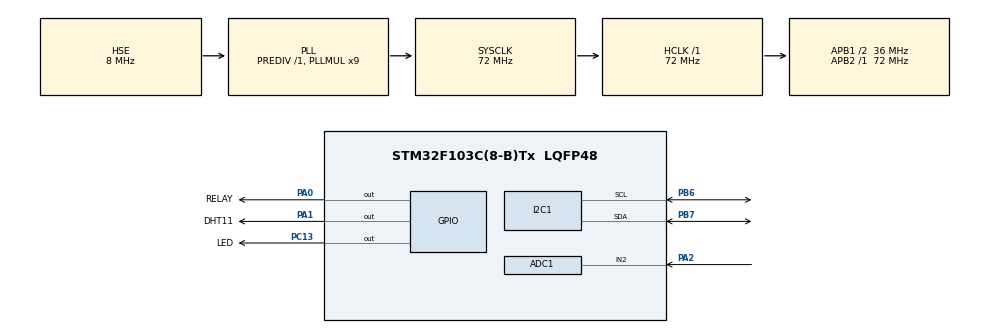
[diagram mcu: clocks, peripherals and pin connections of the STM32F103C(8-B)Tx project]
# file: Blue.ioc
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ADC1.Channel-0\#ChannelRegularConversion=ADC_CHANNEL_2
ADC1.NbrOfConversionFlag=1
ADC1.Rank-0\#ChannelRegularConversion=1
ADC1.SamplingTime-0\#ChannelRegularConversion=ADC_SAMPLETIME_71CYCLES_5
ADC1.master=1
Mcu.Family=STM32F1
Mcu.Name=STM32F103C(8-B)Tx
Mcu.Package=LQFP48
NVIC.PriorityGroup=NVIC_PRIORITYGROUP_4
PA0-WKUP.GPIO_Label=RELAY
PA0-WKUP.Signal=GPIO_Output
PA1.GPIO_Label=DHT11
PA1.Signal=GPIO_Output
PA13.Mode=Serial_Wire
PA13.Signal=SYS_JTMS-SWDIO
PA14.Mode=Serial_Wire
PA14.Signal=SYS_JTCK-SWCLK
PA2.Signal=ADCx_IN2
PB6.Mode=I2C
PB6.Signal=I2C1_SCL
PB7.Mode=I2C
PB7.Signal=I2C1_SDA
PC13-TAMPER-RTC.GPIO_Label=LED
PC13-TAMPER-RTC.Signal=GPIO_Output
PD0-OSC_IN.Mode=HSE-External-Oscillator
PD0-OSC_IN.Signal=RCC_OSC_IN
PD1-OSC_OUT.Mode=HSE-External-Oscillator
PD1-OSC_OUT.Signal=RCC_OSC_OUT
ProjectManager.HeapSize=0x200
ProjectManager.StackSize=0x400
ProjectManager.TargetToolchain=STM32CubeIDE
RCC.ADCPresc=RCC_ADCPCLK2_DIV6
RCC.AHBFreq_Value=72000000
RCC.APB1CLKDivider=RCC_HCLK_DIV2
RCC.APB1Freq_Value=36000000
RCC.APB1TimFreq_Value=72000000
RCC.APB2Freq_Value=72000000
RCC.APB2TimFreq_Value=72000000
RCC.HCLKFreq_Value=72000000
RCC.PLLMUL=RCC_PLL_MUL9
RCC.PLLSourceVirtual=RCC_PLLSOURCE_HSE
RCC.SYSCLKFreq_VALUE=72000000
RCC.SYSCLKSource=RCC_SYSCLKSOURCE_PLLCLK
RCC.USBFreq_Value=72000000
SH.ADCx_IN2.0=ADC1_IN2,IN2
TIM2.Prescaler=71
VP_TIM2_VS_ClockSourceINT.Mode=Internal
board=custom

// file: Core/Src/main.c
/* USER CODE BEGIN Header */
/**
  ******************************************************************************
  * @file           : main.c
  * @brief          : Main program body
  ******************************************************************************
  * @attention
  *
  * Copyright (c) 2026 STMicroelectronics.
  * All rights reserved.
  *
  * This software is licensed under terms that can be found in the LICENSE file
  * in the root directory of this software component.
  * If no LICENSE file comes with this software, it is provided AS-IS.
  *
  ******************************************************************************
  */
/* USER CODE END Header */
#include "main.h"

/* USER CODE BEGIN Includes */
#include <stdio.h>
#include <string.h>
#include <stdint.h>

/* USER CODE END Includes */

/* USER CODE BEGIN PD */

/* ================= CAU HINH MAC DINH (sua duoc ngay tren LCD) ================= */

/* Muc kich relay: GPIO_PIN_SET = relay dong khi PA0 = 1 (jumper High).
 * Neu relay chay nguoc thi doi thanh GPIO_PIN_RESET */
#define RELAY_ON_LEVEL      GPIO_PIN_SET

/* An toan cho che do tu dong: bom lien tuc toi da bao lau, roi nghi bao lau
 * (de nuoc kip tham xuong dat, tranh ngap uong neu cam bien sai) */
#define AUTO_MAX_RUN_MS     60000UL     /* toi da 60 giay moi dot bom  */
#define AUTO_COOL_MS        300000UL    /* nghi 5 phut sau khi bi cat  */

/* Gia tri mac dinh lan dau (sau do luu vao flash) */
#define DEF_AUTO_EN         1
#define DEF_SOIL_START      30          /* dat < 30%  -> bat bom   */
#define DEF_SOIL_STOP       60          /* dat >= 60% -> tat bom   */
#define DEF_SCHED_EN        1
#define DEF_SCHED_H         7           /* hen gio 07:00           */
#define DEF_SCHED_M         0
#define DEF_PUMP_SEC        10          /* bom 10 giay             */
#define DEF_ADC_DRY         4000        /* cam bien dien tro ngoai khong khi ~4095 (se hieu chinh tren LCD) */
#define DEF_ADC_WET         1500        /* nhung nuoc/dat uot: thap hon nhieu (se hieu chinh tren LCD)       */

/* ---- Cam bien dat DIEN TRO (2 chan kim loai + module LM393) ----
 * Day AO -> PA2 (A2). Day VCC -> PB0 (khuyen dung) HOAC 3V3. GND -> GND. Day DO de trong.
 * Cap nguon qua PB0 de chi bat luc do: chan kim loai cam lien tuc se bi an mon (ri set) rat nhanh. */
#define SOIL_PWR_PORT       GPIOB
#define SOIL_PWR_PIN        GPIO_PIN_0
#define SOIL_SETTLE_MS      15          /* cho module on dinh sau khi cap nguon */
#define SOIL_READ_PERIOD_MS 500         /* doc cam bien moi 0.5 giay            */

/* Dia chi I2C */
#define RTC_ADDR            (0x68 << 1)
#define LCD_ADDR_1          (0x27 << 1)
#define LCD_ADDR_2          (0x3F << 1)

/* Bit dieu khien PCF8574 cua LCD */
#define LCD_BL              0x08
#define LCD_EN              0x04
#define LCD_RS              0x01

/* Luu cai dat vao trang flash cuoi (Blue Pill 64KB) */
#define CFG_ADDR            0x0800FC00UL
#define CFG_MAGIC           0xA5C30003UL

/* Chong treo LCD: moi 30 giay khoi dong lai bus I2C + LCD */
#define LCD_REINIT_MS       30000UL

/* Nut nhan (noi 1 chan nut xuong GND, chan con lai vao chan MCU) */
#define BTN_MENU_PIN        GPIO_PIN_12   /* PB12: chuyen trang menu        */
#define BTN_UP_PIN          GPIO_PIN_13   /* PB13: tang / bat               */
#define BTN_DOWN_PIN        GPIO_PIN_14   /* PB14: giam / tat               */
#define BTN_PUMP_PIN        GPIO_PIN_15   /* PB15: bom tay (10 giay)        */
#define BTN_MENU            0
#define BTN_UP              1
#define BTN_DOWN            2
#define BTN_PUMP            3

/* Cac trang menu */
#define P_HOME              0
#define P_AUTO              1
#define P_START             2
#define P_STOP              3
#define P_SCHED_EN          4
#define P_SCHED_H           5
#define P_SCHED_M           6
#define P_PUMP_S            7
#define P_CAL_DRY           8
#define P_CAL_WET           9
#define P_COUNT             10

/* USER CODE END PD */

ADC_HandleTypeDef hadc1;

I2C_HandleTypeDef hi2c1;

TIM_HandleTypeDef htim2;

/* USER CODE BEGIN PV */

typedef struct {
  uint8_t sec, min, hour, day, month, year;
} RtcTime_t;

typedef struct {
  uint32_t magic;
  uint8_t  auto_en, start, stop, sched_en;
  uint8_t  sched_h, sched_m, pump_s, rsv;
  uint16_t dry, wet;
  uint16_t rsv2, rsv3;
} Config_t;

typedef struct {
  GPIO_TypeDef *port;
  uint16_t pin;
  uint8_t  raw, state;
  uint32_t t_change, t_next;
} Btn_t;

static Config_t  cfg;
static uint8_t   cfg_dirty = 0;
static uint16_t  lcd_addr = LCD_ADDR_1;
static uint8_t   lcd_err = 0;

static uint8_t   page = P_HOME;
static uint32_t  msg_until = 0;

/* Du lieu do duoc */
static uint8_t   g_temp = 0, g_hum = 0, g_dht_ok = 0;
static uint16_t  g_raw = 0;
static uint8_t   g_soil = 0;
static RtcTime_t g_now;
static uint8_t   g_rtc_ok = 0;

/* Bom */
static uint8_t   relay_state = 0;
static uint8_t   pump_timed = 0;
static uint32_t  pump_timed_end = 0;
static uint8_t   auto_run = 0;
static uint32_t  auto_run_start = 0;
static uint32_t  auto_cool_until = 0;
static uint32_t  sched_last_key = 0xFFFFFFFFUL;

static Btn_t btns[4] = {
  { GPIOB, BTN_MENU_PIN, 0, 0, 0, 0 },
  { GPIOB, BTN_UP_PIN,   0, 0, 0, 0 },
  { GPIOB, BTN_DOWN_PIN, 0, 0, 0, 0 },
  { GPIOB, BTN_PUMP_PIN, 0, 0, 0, 0 },
};

/* USER CODE END PV */

void SystemClock_Config(void);
static void MX_GPIO_Init(void);
static void MX_ADC1_Init(void);
static void MX_I2C1_Init(void);
static void MX_TIM2_Init(void);

/* USER CODE BEGIN 0 */

/* ================= DELAY micro giay bang TIM2 (1 MHz) ================= */
static void delay_us(uint16_t us)
{
  __HAL_TIM_SET_COUNTER(&htim2, 0);
  while (__HAL_TIM_GET_COUNTER(&htim2) < us) { }
}

/* ============ PHUC HOI BUS I2C (khi bi nhieu lam treo SDA/SCL) ============ */
static void i2c_recover(void)
{
  GPIO_InitTypeDef g = {0};

  HAL_I2C_DeInit(&hi2c1);
  __HAL_RCC_I2C1_FORCE_RESET();
  __HAL_RCC_I2C1_RELEASE_RESET();

  /* PB6 = SCL, PB7 = SDA: tam dieu khien bang tay */
  g.Pin   = GPIO_PIN_6 | GPIO_PIN_7;
  g.Mode  = GPIO_MODE_OUTPUT_OD;
  g.Pull  = GPIO_NOPULL;
  g.Speed = GPIO_SPEED_FREQ_HIGH;
  HAL_GPIO_Init(GPIOB, &g);
  HAL_GPIO_WritePin(GPIOB, GPIO_PIN_6 | GPIO_PIN_7, GPIO_PIN_SET);
  delay_us(10);

  /* Phat 9 xung SCL de thiet bi dang giu SDA nha bus ra */
  for (uint8_t i = 0; i < 9; i++)
  {
    HAL_GPIO_WritePin(GPIOB, GPIO_PIN_6, GPIO_PIN_RESET); delay_us(10);
    HAL_GPIO_WritePin(GPIOB, GPIO_PIN_6, GPIO_PIN_SET);   delay_us(10);
  }
  /* Tao dieu kien STOP */
  HAL_GPIO_WritePin(GPIOB, GPIO_PIN_7, GPIO_PIN_RESET); delay_us(10);
  HAL_GPIO_WritePin(GPIOB, GPIO_PIN_6, GPIO_PIN_SET);   delay_us(10);
  HAL_GPIO_WritePin(GPIOB, GPIO_PIN_7, GPIO_PIN_SET);   delay_us(10);

  MX_I2C1_Init();    /* cai lai I2C1 va tra chan ve che do I2C */
}

/* ======================= LCD 1602 I2C (PCF8574) ======================= */
static void lcd_write4(uint8_t nibble_with_flags)
{
  uint8_t b[2];
  b[0] = nibble_with_flags | LCD_EN;
  b[1] = nibble_with_flags;
  if (HAL_I2C_Master_Transmit(&hi2c1, lcd_addr, b, 2, 50) != HAL_OK) lcd_err = 1;
}

static void lcd_send(uint8_t data, uint8_t rs)
{
  uint8_t hi = data & 0xF0;
  uint8_t lo = (uint8_t)((data << 4) & 0xF0);
  uint8_t b[4];
  b[0] = hi | rs | LCD_BL | LCD_EN;
  b[1] = hi | rs | LCD_BL;
  b[2] = lo | rs | LCD_BL | LCD_EN;
  b[3] = lo | rs | LCD_BL;
  if (HAL_I2C_Master_Transmit(&hi2c1, lcd_addr, b, 4, 50) != HAL_OK) lcd_err = 1;
}

static void lcd_cmd(uint8_t cmd)
{
  lcd_send(cmd, 0);
  if (cmd == 0x01 || cmd == 0x02) HAL_Delay(2);
}

static void lcd_data(uint8_t d) { lcd_send(d, LCD_RS); }

static void lcd_set_cursor(uint8_t row, uint8_t col)
{
  lcd_cmd(0x80 | ((row ? 0x40 : 0x00) + col));
}

static void lcd_print(const char *s)
{
  while (*s) lcd_data((uint8_t)*s++);
}

/* In 1 dong 16 ky tu (tu dong chen khoang trang cho het dong) */
static void lcd_line(uint8_t row, const char *s)
{
  char b[20];
  snprintf(b, 17, "%-16s", s);
  lcd_set_cursor(row, 0);
  lcd_print(b);
}

/* Tra ve 1 neu tim thay LCD */
static uint8_t lcd_init(void)
{
  if (HAL_I2C_IsDeviceReady(&hi2c1, LCD_ADDR_1, 2, 50) == HAL_OK)      lcd_addr = LCD_ADDR_1;
  else if (HAL_I2C_IsDeviceReady(&hi2c1, LCD_ADDR_2, 2, 50) == HAL_OK) lcd_addr = LCD_ADDR_2;
  else return 0;

  HAL_Delay(50);
  lcd_write4(0x30 | LCD_BL); HAL_Delay(5);
  lcd_write4(0x30 | LCD_BL); HAL_Delay(1);
  lcd_write4(0x30 | LCD_BL); HAL_Delay(1);
  lcd_write4(0x20 | LCD_BL); HAL_Delay(1);   /* chuyen sang 4-bit */

  lcd_cmd(0x28);   /* 4-bit, 2 dong, font 5x8 */
  lcd_cmd(0x0C);   /* bat hien thi, tat con tro */
  lcd_cmd(0x06);   /* tu dong tang dia chi */
  lcd_cmd(0x01);   /* xoa man hinh */
  return 1;
}

/* Khoi dong lai bus I2C va LCD (chong treo man hinh) */
static void lcd_reinit(void)
{
  lcd_err = 0;
  i2c_recover();
  lcd_init();
}

/* ====================== RTC DS1307 / DS3231 (0x68) ===================== */
static uint8_t bcd2dec(uint8_t v) { return (uint8_t)((v >> 4) * 10 + (v & 0x0F)); }
static uint8_t dec2bcd(uint8_t v) { return (uint8_t)(((v / 10) << 4) | (v % 10)); }

static uint8_t rtc_read(RtcTime_t *t, uint8_t *halted)
{
  uint8_t b[7];
  if (HAL_I2C_Mem_Read(&hi2c1, RTC_ADDR, 0x00, I2C_MEMADD_SIZE_8BIT, b, 7, 100) != HAL_OK)
    return 0;
  *halted = (b[0] & 0x80) ? 1 : 0;       /* bit CH cua DS1307 */
  t->sec   = bcd2dec(b[0] & 0x7F);
  t->min   = bcd2dec(b[1] & 0x7F);
  t->hour  = bcd2dec(b[2] & 0x3F);
  t->day   = bcd2dec(b[4] & 0x3F);
  t->month = bcd2dec(b[5] & 0x1F);
  t->year  = bcd2dec(b[6]);
  return 1;
}

static uint8_t rtc_write(const RtcTime_t *t)
{
  uint8_t b[7];
  b[0] = dec2bcd(t->sec) & 0x7F;         /* bit7 = 0 -> cho dong ho chay */
  b[1] = dec2bcd(t->min);
  b[2] = dec2bcd(t->hour);               /* che do 24h */
  b[3] = 1;
  b[4] = dec2bcd(t->day);
  b[5] = dec2bcd(t->month);
  b[6] = dec2bcd(t->year);
  return (HAL_I2C_Mem_Write(&hi2c1, RTC_ADDR, 0x00, I2C_MEMADD_SIZE_8BIT, b, 7, 100) == HAL_OK);
}

static void rtc_get_compile_time(RtcTime_t *t)
{
  static const char months[] = "JanFebMarAprMayJunJulAugSepOctNovDec";
  char m[4] = {0};
  int d = 1, y = 2026, hh = 0, mm = 0, ss = 0;
  sscanf(__DATE__, "%3s %d %d", m, &d, &y);
  sscanf(__TIME__, "%d:%d:%d", &hh, &mm, &ss);
  const char *p = strstr(months, m);
  t->month = p ? (uint8_t)((p - months) / 3 + 1) : 1;
  t->day   = (uint8_t)d;
  t->year  = (uint8_t)(y % 100);
  t->hour  = (uint8_t)hh;
  t->min   = (uint8_t)mm;
  t->sec   = (uint8_t)ss;
}

/* Neu RTC chua co gio dung -> nap gio luc build */
static void rtc_init_if_needed(void)
{
  RtcTime_t t; uint8_t halted = 0;
  uint8_t ok = rtc_read(&t, &halted);
  if (!ok || halted || t.year < 26 || t.month < 1 || t.month > 12 ||
      t.day < 1 || t.day > 31 || t.hour > 23 || t.min > 59 || t.sec > 59)
  {
    rtc_get_compile_time(&t);
    rtc_write(&t);
  }
}

/* ============================== DHT11 ================================== */
static void DHT11_SetOutput(void)
{
  GPIO_InitTypeDef g = {0};
  g.Pin = DHT11_Pin;
  g.Mode = GPIO_MODE_OUTPUT_PP;
  g.Speed = GPIO_SPEED_FREQ_HIGH;
  HAL_GPIO_Init(DHT11_GPIO_Port, &g);
}

static void DHT11_SetInput(void)
{
  GPIO_InitTypeDef g = {0};
  g.Pin = DHT11_Pin;
  g.Mode = GPIO_MODE_INPUT;
  g.Pull = GPIO_PULLUP;
  HAL_GPIO_Init(DHT11_GPIO_Port, &g);
}

static uint8_t DHT11_Wait(GPIO_PinState level, uint16_t timeout_us)
{
  __HAL_TIM_SET_COUNTER(&htim2, 0);
  while (HAL_GPIO_ReadPin(DHT11_GPIO_Port, DHT11_Pin) != level)
  {
    if (__HAL_TIM_GET_COUNTER(&htim2) > timeout_us) return 0;
  }
  return 1;
}

static uint8_t DHT11_Read(uint8_t *temp, uint8_t *hum)
{
  uint8_t data[5] = {0};
  uint8_t ok = 1;

  DHT11_SetOutput();
  HAL_GPIO_WritePin(DHT11_GPIO_Port, DHT11_Pin, GPIO_PIN_RESET);
  HAL_Delay(20);
  HAL_GPIO_WritePin(DHT11_GPIO_Port, DHT11_Pin, GPIO_PIN_SET);
  delay_us(30);
  DHT11_SetInput();

  __disable_irq();

  if (!DHT11_Wait(GPIO_PIN_RESET, 100)) ok = 0;
  if (ok && !DHT11_Wait(GPIO_PIN_SET, 100)) ok = 0;
  if (ok && !DHT11_Wait(GPIO_PIN_RESET, 100)) ok = 0;

  for (uint8_t i = 0; ok && i < 40; i++)
  {
    if (!DHT11_Wait(GPIO_PIN_SET, 100)) { ok = 0; break; }
    delay_us(40);
    if (HAL_GPIO_ReadPin(DHT11_GPIO_Port, DHT11_Pin) == GPIO_PIN_SET)
      data[i / 8] |= (uint8_t)(1 << (7 - (i % 8)));
    if (!DHT11_Wait(GPIO_PIN_RESET, 100)) { ok = 0; break; }
  }

  __enable_irq();

  DHT11_SetOutput();
  HAL_GPIO_WritePin(DHT11_GPIO_Port, DHT11_Pin, GPIO_PIN_SET);

  if (!ok) return 0;
  if ((uint8_t)(data[0] + data[1] + data[2] + data[3]) != data[4]) return 0;

  *hum  = data[0];
  *temp = data[2];
  return 1;
}

/* ============================ CAM BIEN DAT ============================= */
static uint16_t soil_read_raw(void)
{
  uint32_t sum = 0;

  HAL_GPIO_WritePin(SOIL_PWR_PORT, SOIL_PWR_PIN, GPIO_PIN_SET);     /* bat nguon cam bien */
  HAL_Delay(SOIL_SETTLE_MS);

  for (uint8_t i = 0; i < 16; i++)
  {
    HAL_ADC_Start(&hadc1);
    HAL_ADC_PollForConversion(&hadc1, 10);
    sum += HAL_ADC_GetValue(&hadc1);
    HAL_ADC_Stop(&hadc1);
  }

  HAL_GPIO_WritePin(SOIL_PWR_PORT, SOIL_PWR_PIN, GPIO_PIN_RESET);   /* tat nguon -> chong an mon */
  return (uint16_t)(sum / 16);
}

/* Quy doi ra %: dry -> 0%, wet -> 100% (dung ca khi cam bien dao chieu) */
static uint8_t soil_percent(uint16_t raw)
{
  int32_t span = (int32_t)cfg.wet - (int32_t)cfg.dry;
  if (span == 0) return 0;
  int32_t p = ((int32_t)raw - (int32_t)cfg.dry) * 100 / span;
  if (p < 0)   p = 0;
  if (p > 100) p = 100;
  return (uint8_t)p;
}

/* =============================== RELAY ================================= */
static void relay_set(uint8_t on)
{
  relay_state = on;
  HAL_GPIO_WritePin(RELAY_GPIO_Port, RELAY_Pin,
                    on ? RELAY_ON_LEVEL : (RELAY_ON_LEVEL == GPIO_PIN_SET ? GPIO_PIN_RESET : GPIO_PIN_SET));
}

static void pump_start_timed(void)
{
  pump_timed = 1;
  pump_timed_end = HAL_GetTick() + (uint32_t)cfg.pump_s * 1000UL;
}

/* ===================== LUU CAI DAT VAO FLASH ============================ */
static void cfg_default(void)
{
  memset(&cfg, 0, sizeof(cfg));
  cfg.magic    = CFG_MAGIC;
  cfg.auto_en  = DEF_AUTO_EN;
  cfg.start    = DEF_SOIL_START;
  cfg.stop     = DEF_SOIL_STOP;
  cfg.sched_en = DEF_SCHED_EN;
  cfg.sched_h  = DEF_SCHED_H;
  cfg.sched_m  = DEF_SCHED_M;
  cfg.pump_s   = DEF_PUMP_SEC;
  cfg.dry      = DEF_ADC_DRY;
  cfg.wet      = DEF_ADC_WET;
}

static void cfg_load(void)
{
  memcpy(&cfg, (const void *)CFG_ADDR, sizeof(cfg));
  if (cfg.magic != CFG_MAGIC || cfg.start > 95 || cfg.stop > 100 || cfg.start + 5 > cfg.stop ||
      cfg.sched_h > 23 || cfg.sched_m > 59 || cfg.pump_s < 1 || cfg.pump_s > 120 ||
      cfg.auto_en > 1 || cfg.sched_en > 1 || cfg.dry > 4095 || cfg.wet > 4095)
  {
    cfg_default();
  }
}

static void cfg_save(void)
{
  FLASH_EraseInitTypeDef e;
  uint32_t err = 0;
  const uint16_t *p = (const uint16_t *)&cfg;

  cfg.magic = CFG_MAGIC;
  HAL_FLASH_Unlock();
  e.TypeErase   = FLASH_TYPEERASE_PAGES;
  e.PageAddress = CFG_ADDR;
  e.NbPages     = 1;
  if (HAL_FLASHEx_Erase(&e, &err) == HAL_OK)
  {
    for (uint8_t i = 0; i < sizeof(cfg) / 2; i++)
      HAL_FLASH_Program(FLASH_TYPEPROGRAM_HALFWORD, CFG_ADDR + 2U * i, p[i]);
  }
  HAL_FLASH_Lock();
  cfg_dirty = 0;
}

/* ============================== NUT NHAN =============================== */
/* Tra ve 1 moi lan nhan (co chong doi 30ms). repeat=1: giu nut se tu lap */
static uint8_t btn_event(uint8_t i, uint32_t now, uint8_t repeat)
{
  Btn_t *b = &btns[i];
  uint8_t pressed = (HAL_GPIO_ReadPin(b->port, b->pin) == GPIO_PIN_RESET) ? 1 : 0;

  if (pressed != b->raw) { b->raw = pressed; b->t_change = now; return 0; }
  if (b->raw != b->state && (now - b->t_change) >= 30)
  {
    b->state = b->raw;
    if (b->state) { b->t_next = now + 600; return 1; }
    return 0;
  }
  if (b->state && repeat && now >= b->t_next) { b->t_next = now + 120; return 1; }
  return 0;
}

/* ============================ GIAO DIEN LCD ============================ */
static void ui_draw(void)
{
  char a[32], b[32], ps[16];
  uint32_t t = HAL_GetTick();
  a[0] = 0; b[0] = 0;

  switch (page)
  {
    case P_HOME:
    {
      uint8_t v = (uint8_t)((t / 3000UL) % 4UL);   /* doi man hinh moi 3 giay */
      if (v == 0)
      {
        if (g_dht_ok)
        {
          snprintf(a, sizeof a, "Nhiet do: %2d%cC", g_temp, 0xDF);
          snprintf(b, sizeof b, "Do am KK: %2d%%", g_hum);
        }
        else
        {
          snprintf(a, sizeof a, "Nhiet do: --");
          snprintf(b, sizeof b, "Do am KK: --");
        }
      }
      else if (v == 1)
      {
        if (g_rtc_ok) snprintf(a, sizeof a, "Gio: %02d:%02d:%02d", g_now.hour, g_now.min, g_now.sec);
        else          snprintf(a, sizeof a, "Gio: --:--:--");
        if (pump_timed)
        {
          int32_t rem = (int32_t)(pump_timed_end - t);
          if (rem < 0) rem = 0;
          snprintf(ps, sizeof ps, "%lus", (unsigned long)((rem + 999) / 1000));
        }
        else
          snprintf(ps, sizeof ps, "%s", relay_state ? "ON" : "OFF");
        snprintf(b, sizeof b, "Dat:%3d%% Bom:%-3s", g_soil, ps);
      }
      else if (v == 2)
      {
        snprintf(a, sizeof a, "Hen %02d:%02d %s", cfg.sched_h, cfg.sched_m, cfg.sched_en ? "ON" : "OFF");
        snprintf(b, sizeof b, "Auto %s %d-%d%%", cfg.auto_en ? "ON" : "OFF", cfg.start, cfg.stop);
      }
      else
      {
        snprintf(a, sizeof a, "ADC dat: %4d", g_raw);
        snprintf(b, sizeof b, "K:%4d U:%4d", cfg.dry, cfg.wet);
      }
      break;
    }
    case P_AUTO:
      snprintf(a, sizeof a, "Tu dong tuoi:");
      snprintf(b, sizeof b, "%s (UP/DOWN)", cfg.auto_en ? "ON" : "OFF");
      break;
    case P_START:
      snprintf(a, sizeof a, "Bat khi dat <");
      snprintf(b, sizeof b, "%d%% (UP/DOWN)", cfg.start);
      break;
    case P_STOP:
      snprintf(a, sizeof a, "Tat khi dat >=");
      snprintf(b, sizeof b, "%d%% (UP/DOWN)", cfg.stop);
      break;
    case P_SCHED_EN:
      snprintf(a, sizeof a, "Hen gio tuoi:");
      snprintf(b, sizeof b, "%s (UP/DOWN)", cfg.sched_en ? "ON" : "OFF");
      break;
    case P_SCHED_H:
      snprintf(a, sizeof a, "Chinh GIO tuoi");
      snprintf(b, sizeof b, "[%02d]:%02d", cfg.sched_h, cfg.sched_m);
      break;
    case P_SCHED_M:
      snprintf(a, sizeof a, "Chinh PHUT tuoi");
      snprintf(b, sizeof b, "%02d:[%02d]", cfg.sched_h, cfg.sched_m);
      break;
    case P_PUMP_S:
      snprintf(a, sizeof a, "Thoi gian bom:");
      snprintf(b, sizeof b, "%d giay", cfg.pump_s);
      break;
    case P_CAL_DRY:
      snprintf(a, sizeof a, "Calib KHO (kk)");
      if (t < msg_until) snprintf(b, sizeof b, "Da luu: %4d", g_raw);
      else               snprintf(b, sizeof b, "ADC:%4d UP=Luu", g_raw);
      break;
    case P_CAL_WET:
      snprintf(a, sizeof a, "Calib UOT (nuoc)");
      if (t < msg_until) snprintf(b, sizeof b, "Da luu: %4d", g_raw);
      else               snprintf(b, sizeof b, "ADC:%4d UP=Luu", g_raw);
      break;
    default:
      break;
  }
  lcd_line(0, a);
  lcd_line(1, b);
}

/* Chinh gia tri trong menu: d = +1 (UP) hoac -1 (DOWN) */
static void menu_adjust(int8_t d)
{
  int16_t v;
  switch (page)
  {
    case P_AUTO:     cfg.auto_en  ^= 1; break;
    case P_SCHED_EN: cfg.sched_en ^= 1; break;
    case P_START:
      v = (int16_t)cfg.start + d;
      if (v < 0) v = 0;
      if (v > (int16_t)cfg.stop - 5) v = (int16_t)cfg.stop - 5;
      cfg.start = (uint8_t)v;
      break;
    case P_STOP:
      v = (int16_t)cfg.stop + d;
      if (v < (int16_t)cfg.start + 5) v = (int16_t)cfg.start + 5;
      if (v > 100) v = 100;
      cfg.stop = (uint8_t)v;
      break;
    case P_SCHED_H:  cfg.sched_h = (uint8_t)((cfg.sched_h + 24 + d) % 24); break;
    case P_SCHED_M:  cfg.sched_m = (uint8_t)((cfg.sched_m + 60 + d) % 60); break;
    case P_PUMP_S:
      v = (int16_t)cfg.pump_s + d;
      if (v < 1)   v = 1;
      if (v > 120) v = 120;
      cfg.pump_s = (uint8_t)v;
      break;
    case P_CAL_DRY:
      if (d > 0) { cfg.dry = g_raw; msg_until = HAL_GetTick() + 1500; }
      else return;
      break;
    case P_CAL_WET:
      if (d > 0) { cfg.wet = g_raw; msg_until = HAL_GetTick() + 1500; }
      else return;
      break;
    default:
      return;
  }
  cfg_dirty = 1;
}

/* USER CODE END 0 */

int main(void)
{

  /* MCU Configuration--------------------------------------------------------*/

  /* Reset of all peripherals, Initializes the Flash interface and the Systick. */
  HAL_Init();

  /* Configure the system clock */
  SystemClock_Config();

  /* Initialize all configured peripherals */
  MX_GPIO_Init();
  MX_ADC1_Init();
  MX_I2C1_Init();
  MX_TIM2_Init();
  /* USER CODE BEGIN 2 */

  HAL_TIM_Base_Start(&htim2);                 /* TIM2 chay 1 MHz cho DHT11 */
  HAL_ADCEx_Calibration_Start(&hadc1);        /* hieu chuan ADC */

  /* 4 nut nhan PB12..PB15: dau vao keo len, nhan = noi xuong GND */
  {
    GPIO_InitTypeDef gb = {0};
    gb.Pin  = BTN_MENU_PIN | BTN_UP_PIN | BTN_DOWN_PIN | BTN_PUMP_PIN;
    gb.Mode = GPIO_MODE_INPUT;
    gb.Pull = GPIO_PULLUP;
    HAL_GPIO_Init(GPIOB, &gb);
  }

  /* Chan cap nguon cam bien dat (PB0): xuat, mac dinh TAT */
  {
    GPIO_InitTypeDef gp = {0};
    HAL_GPIO_WritePin(SOIL_PWR_PORT, SOIL_PWR_PIN, GPIO_PIN_RESET);
    gp.Pin   = SOIL_PWR_PIN;
    gp.Mode  = GPIO_MODE_OUTPUT_PP;
    gp.Speed = GPIO_SPEED_FREQ_LOW;
    HAL_GPIO_Init(SOIL_PWR_PORT, &gp);
  }

  cfg_load();                                 /* doc cai dat da luu (hoac mac dinh) */
  relay_set(0);                               /* luc khoi dong relay TAT */
  HAL_GPIO_WritePin(DHT11_GPIO_Port, DHT11_Pin, GPIO_PIN_SET);

  if (!lcd_init())
  {
    /* Khong thay LCD tren I2C: nhay LED PC13 nhanh de bao loi */
    while (1)
    {
      HAL_GPIO_TogglePin(LED_GPIO_Port, LED_Pin);
      HAL_Delay(100);
    }
  }

  lcd_line(0, "  He thong tuoi");
  lcd_line(1, "  Dang khoi dong");
  HAL_Delay(1000);
  rtc_init_if_needed();
  lcd_cmd(0x01);

  uint8_t  halted = 0;
  uint32_t t_adc = 0, t_dht = 0, t_1s = 0;
  uint32_t last_act = HAL_GetTick();
  uint32_t t_lcd = HAL_GetTick(), lcd_reinit_at = 0;
  uint8_t  last_relay = 0;

  g_raw  = soil_read_raw();
  g_soil = soil_percent(g_raw);

  /* Watchdog doc lap (~4 giay): neu chuong trinh treo cung se tu reset */
  DBGMCU->CR |= DBGMCU_CR_DBG_IWDG_STOP;      /* dung watchdog khi dang debug */
  IWDG->KR  = 0xCCCC;                         /* bat watchdog */
  IWDG->KR  = 0x5555;                         /* cho phep ghi PR, RLR */
  IWDG->PR  = 4;                              /* chia 64 -> 625 Hz */
  IWDG->RLR = 2500;                           /* 2500 / 625 = 4 giay */
  for (uint32_t i = 0; IWDG->SR != 0 && i < 100000UL; i++) { }
  IWDG->KR  = 0xAAAA;

  /* USER CODE END 2 */

  /* Infinite loop */
  while (1)
  {

    /* USER CODE BEGIN 3 */

    uint32_t tick = HAL_GetTick();
    uint8_t  redraw = 0;

    IWDG->KR = 0xAAAA;                           /* nap lai watchdog */

    /* ---------- NUT NHAN ---------- */
    if (btn_event(BTN_PUMP, tick, 0))            /* bom tay: bam lan nua de dung */
    {
      if (pump_timed) pump_timed = 0;
      else            pump_start_timed();
      redraw = 1;
    }

    if (btn_event(BTN_MENU, tick, 0))
    {
      last_act = tick;
      page++;
      if (page >= P_COUNT)
      {
        page = P_HOME;
        if (cfg_dirty) cfg_save();
      }
      redraw = 1;
    }

    if (btn_event(BTN_UP, tick, 1))
    {
      last_act = tick;
      if (page != P_HOME) { menu_adjust(+1); redraw = 1; }
    }
    if (btn_event(BTN_DOWN, tick, 1))
    {
      last_act = tick;
      if (page != P_HOME) { menu_adjust(-1); redraw = 1; }
    }

    /* Khong bam nut 30 giay -> tu thoat menu va luu */
    if (page != P_HOME && (tick - last_act) > 30000UL)
    {
      page = P_HOME;
      if (cfg_dirty) cfg_save();
      redraw = 1;
    }

    /* ---------- DOC CAM BIEN DAT: moi SOIL_READ_PERIOD_MS ---------- */
    if (tick - t_adc >= SOIL_READ_PERIOD_MS)
    {
      t_adc  = tick;
      g_raw  = soil_read_raw();
      g_soil = soil_percent(g_raw);
      if (page == P_CAL_DRY || page == P_CAL_WET) redraw = 1;
    }

    /* ---------- DHT11: moi 2 giay ---------- */
    if (tick - t_dht >= 2000)
    {
      t_dht = tick;
      uint8_t tt, hh;
      if (DHT11_Read(&tt, &hh)) { g_temp = tt; g_hum = hh; g_dht_ok = 1; }
      else                      { g_dht_ok = 0; }
    }

    /* ---------- LOGIC BOM: moi 1 giay ---------- */
    if (tick - t_1s >= 1000)
    {
      t_1s = tick;
      g_rtc_ok = rtc_read(&g_now, &halted);
      if (!g_rtc_ok) lcd_err = 1;                 /* bus I2C co van de -> se khoi dong lai */

      /* 1) Tu dong theo do am dat */
      if (cfg.auto_en)
      {
        if (!auto_run)
        {
          if (g_soil < cfg.start && (int32_t)(tick - auto_cool_until) >= 0)
          {
            auto_run = 1;
            auto_run_start = tick;
          }
        }
        else
        {
          if (g_soil >= cfg.stop)
          {
            auto_run = 0;                              /* du am -> dung */
          }
          else if ((tick - auto_run_start) >= AUTO_MAX_RUN_MS)
          {
            auto_run = 0;                              /* bom qua lau -> nghi */
            auto_cool_until = tick + AUTO_COOL_MS;
          }
        }
      }
      else
      {
        auto_run = 0;
      }

      /* 2) Hen gio: den gio thi bom pump_s giay (moi phut chi kich 1 lan) */
      if (g_rtc_ok && cfg.sched_en &&
          g_now.hour == cfg.sched_h && g_now.min == cfg.sched_m)
      {
        uint32_t key = (uint32_t)g_now.month * 100000UL + (uint32_t)g_now.day * 1440UL
                     + (uint32_t)g_now.hour * 60UL + g_now.min;
        if (key != sched_last_key)
        {
          sched_last_key = key;
          pump_start_timed();
        }
      }

      HAL_GPIO_TogglePin(LED_GPIO_Port, LED_Pin);      /* LED nhay = dang chay */
      redraw = 1;
    }

    /* ---------- HET GIO BOM TAY / HEN GIO ---------- */
    if (pump_timed && (int32_t)(tick - pump_timed_end) >= 0) pump_timed = 0;

    /* ---------- DIEU KHIEN RELAY ---------- */
    relay_set((uint8_t)(pump_timed || auto_run));

    /* Chong treo man hinh: relay vua dong/ngat -> doi 150ms cho het nhieu
       roi khoi dong lai I2C + LCD. Cung khoi dong lai khi co loi hoac moi 30 giay */
    if (relay_state != last_relay)
    {
      last_relay = relay_state;
      lcd_reinit_at = tick + 150;
    }
    if ((lcd_reinit_at != 0 && (int32_t)(tick - lcd_reinit_at) >= 0) ||
        (lcd_err && (tick - t_lcd) >= 500) ||
        ((tick - t_lcd) >= LCD_REINIT_MS))
    {
      lcd_reinit_at = 0;
      t_lcd = tick;
      lcd_reinit();
      redraw = 1;
    }

    if (redraw) ui_draw();

  }
  /* USER CODE END 3 */
}

void SystemClock_Config(void)
{
  RCC_OscInitTypeDef RCC_OscInitStruct = {0};
  RCC_ClkInitTypeDef RCC_ClkInitStruct = {0};
  RCC_PeriphCLKInitTypeDef PeriphClkInit = {0};

  /** Initializes the RCC Oscillators according to the specified parameters
  * in the RCC_OscInitTypeDef structure.
  */
  RCC_OscInitStruct.OscillatorType = RCC_OSCILLATORTYPE_HSE;
  RCC_OscInitStruct.HSEState = RCC_HSE_ON;
  RCC_OscInitStruct.HSEPredivValue = RCC_HSE_PREDIV_DIV1;
  RCC_OscInitStruct.HSIState = RCC_HSI_ON;
  RCC_OscInitStruct.PLL.PLLState = RCC_PLL_ON;
  RCC_OscInitStruct.PLL.PLLSource = RCC_PLLSOURCE_HSE;
  RCC_OscInitStruct.PLL.PLLMUL = RCC_PLL_MUL9;
  if (HAL_RCC_OscConfig(&RCC_OscInitStruct) != HAL_OK)
  {
    Error_Handler();
  }

  /** Initializes the CPU, AHB and APB buses clocks
  */
  RCC_ClkInitStruct.ClockType = RCC_CLOCKTYPE_HCLK|RCC_CLOCKTYPE_SYSCLK
                              |RCC_CLOCKTYPE_PCLK1|RCC_CLOCKTYPE_PCLK2;
  RCC_ClkInitStruct.SYSCLKSource = RCC_SYSCLKSOURCE_PLLCLK;
  RCC_ClkInitStruct.AHBCLKDivider = RCC_SYSCLK_DIV1;
  RCC_ClkInitStruct.APB1CLKDivider = RCC_HCLK_DIV2;
  RCC_ClkInitStruct.APB2CLKDivider = RCC_HCLK_DIV1;

  if (HAL_RCC_ClockConfig(&RCC_ClkInitStruct, FLASH_LATENCY_2) != HAL_OK)
  {
    Error_Handler();
  }
  PeriphClkInit.PeriphClockSelection = RCC_PERIPHCLK_ADC;
  PeriphClkInit.AdcClockSelection = RCC_ADCPCLK2_DIV6;
  if (HAL_RCCEx_PeriphCLKConfig(&PeriphClkInit) != HAL_OK)
  {
    Error_Handler();
  }
}

static void MX_ADC1_Init(void)
{

  ADC_ChannelConfTypeDef sConfig = {0};

  /** Common config
  */
  hadc1.Instance = ADC1;
  hadc1.Init.ScanConvMode = ADC_SCAN_DISABLE;
  hadc1.Init.ContinuousConvMode = DISABLE;
  hadc1.Init.DiscontinuousConvMode = DISABLE;
  hadc1.Init.ExternalTrigConv = ADC_SOFTWARE_START;
  hadc1.Init.DataAlign = ADC_DATAALIGN_RIGHT;
  hadc1.Init.NbrOfConversion = 1;
  if (HAL_ADC_Init(&hadc1) != HAL_OK)
  {
    Error_Handler();
  }

  /** Configure Regular Channel
  */
  sConfig.Channel = ADC_CHANNEL_2;
  sConfig.Rank = ADC_REGULAR_RANK_1;
  sConfig.SamplingTime = ADC_SAMPLETIME_71CYCLES_5;
  if (HAL_ADC_ConfigChannel(&hadc1, &sConfig) != HAL_OK)
  {
    Error_Handler();
  }
  /* USER CODE BEGIN ADC1_Init 2 */
  /* Cam bien dien tro co tro khang ra lon -> lay mau 239.5 chu ky cho ket qua chinh xac */
  sConfig.SamplingTime = ADC_SAMPLETIME_239CYCLES_5;
  if (HAL_ADC_ConfigChannel(&hadc1, &sConfig) != HAL_OK)
  {
    Error_Handler();
  }
  /* USER CODE END ADC1_Init 2 */

}

static void MX_I2C1_Init(void)
{

  hi2c1.Instance = I2C1;
  hi2c1.Init.ClockSpeed = 100000;
  hi2c1.Init.DutyCycle = I2C_DUTYCYCLE_2;
  hi2c1.Init.OwnAddress1 = 0;
  hi2c1.Init.AddressingMode = I2C_ADDRESSINGMODE_7BIT;
  hi2c1.Init.DualAddressMode = I2C_DUALADDRESS_DISABLE;
  hi2c1.Init.OwnAddress2 = 0;
  hi2c1.Init.GeneralCallMode = I2C_GENERALCALL_DISABLE;
  hi2c1.Init.NoStretchMode = I2C_NOSTRETCH_DISABLE;
  if (HAL_I2C_Init(&hi2c1) != HAL_OK)
  {
    Error_Handler();
  }

}

static void MX_TIM2_Init(void)
{

  TIM_ClockConfigTypeDef sClockSourceConfig = {0};
  TIM_MasterConfigTypeDef sMasterConfig = {0};

  htim2.Instance = TIM2;
  htim2.Init.Prescaler = 71;
  htim2.Init.CounterMode = TIM_COUNTERMODE_UP;
  htim2.Init.Period = 65535;
  htim2.Init.ClockDivision = TIM_CLOCKDIVISION_DIV1;
  htim2.Init.AutoReloadPreload = TIM_AUTORELOAD_PRELOAD_DISABLE;
  if (HAL_TIM_Base_Init(&htim2) != HAL_OK)
  {
    Error_Handler();
  }
  sClockSourceConfig.ClockSource = TIM_CLOCKSOURCE_INTERNAL;
  if (HAL_TIM_ConfigClockSource(&htim2, &sClockSourceConfig) != HAL_OK)
  {
    Error_Handler();
  }
  sMasterConfig.MasterOutputTrigger = TIM_TRGO_RESET;
  sMasterConfig.MasterSlaveMode = TIM_MASTERSLAVEMODE_DISABLE;
  if (HAL_TIMEx_MasterConfigSynchronization(&htim2, &sMasterConfig) != HAL_OK)
  {
    Error_Handler();
  }

}

static void MX_GPIO_Init(void)
{
  GPIO_InitTypeDef GPIO_InitStruct = {0};

  /* GPIO Ports Clock Enable */
  __HAL_RCC_GPIOC_CLK_ENABLE();
  __HAL_RCC_GPIOD_CLK_ENABLE();
  __HAL_RCC_GPIOA_CLK_ENABLE();
  __HAL_RCC_GPIOB_CLK_ENABLE();

  /*Configure GPIO pin Output Level */
  HAL_GPIO_WritePin(LED_GPIO_Port, LED_Pin, GPIO_PIN_RESET);

  /*Configure GPIO pin Output Level */
  HAL_GPIO_WritePin(GPIOA, RELAY_Pin|DHT11_Pin, GPIO_PIN_RESET);

  /*Configure GPIO pin : LED_Pin */
  GPIO_InitStruct.Pin = LED_Pin;
  GPIO_InitStruct.Mode = GPIO_MODE_OUTPUT_PP;
  GPIO_InitStruct.Pull = GPIO_NOPULL;
  GPIO_InitStruct.Speed = GPIO_SPEED_FREQ_LOW;
  HAL_GPIO_Init(LED_GPIO_Port, &GPIO_InitStruct);

  /*Configure GPIO pins : RELAY_Pin DHT11_Pin */
  GPIO_InitStruct.Pin = RELAY_Pin|DHT11_Pin;
  GPIO_InitStruct.Mode = GPIO_MODE_OUTPUT_PP;
  GPIO_InitStruct.Pull = GPIO_NOPULL;
  GPIO_InitStruct.Speed = GPIO_SPEED_FREQ_LOW;
  HAL_GPIO_Init(GPIOA, &GPIO_InitStruct);

}

void Error_Handler(void)
{
  __disable_irq();
  while (1)
  {
  }
}
